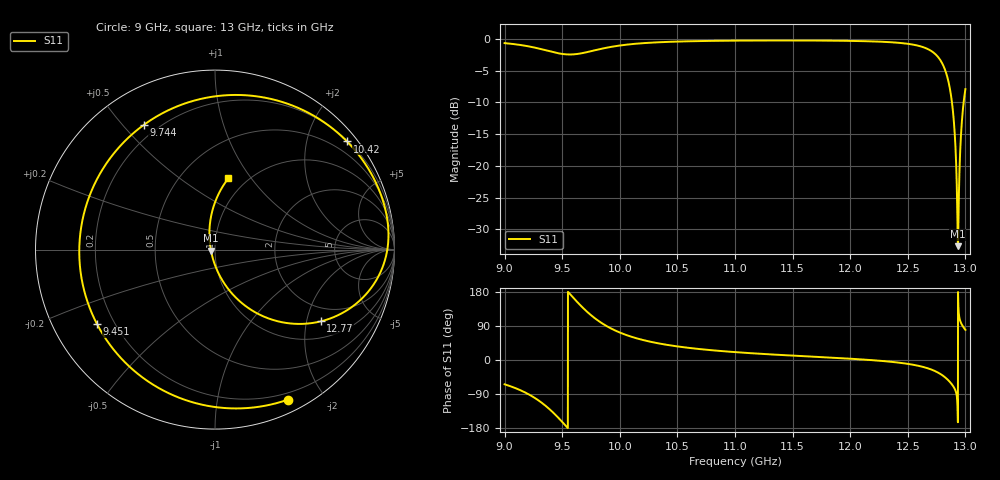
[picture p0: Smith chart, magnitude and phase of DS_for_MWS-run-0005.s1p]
! TOUCHSTONE file generated by CST DESIGN STUDIO
! Date and time: Wed Feb  5 13:27:48 2025
! Project name: C:\Work\MatlabApps\UnitCellOptimizationMatlab\CST\unitcell.cst
! Tree item: Tasks\Sweep1\SPara1\S-Parameters
! Header version: 2024
! Port assignment regex: !\s*Touchstone port\s*([0-9]+)\s*=\s*(CST MWS port|CST DES external port|CST DES block port)\s*(.+)\s* \(\"(.*)\"\)(\s*mode\s*([0-9]+))?.*
! Touchstone port assignment:
! Touchstone port 1 = CST DES external port 1 ("")
# GHz S MA R 50
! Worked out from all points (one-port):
!   4001 points, 9 GHz to 13 GHz, reference 50 ohm
!   lowest |S11| = -32.7 dB at 12.94 GHz (marker M1), VSWR 1.05, Z = 47.8 - j0.606 ohm
!   |S11| at or under -10 dB: 12.88 GHz to 12.98 GHz (101.2 MHz wide, 0.782 % of centre)
!   S11 on the Smith chart (normalised r, x): 9 GHz: 0.13, -1.59; 9.451 GHz: 0.14, -0.29; 9.744 GHz: 0.15, +0.57; 10.42 GHz: 0.22, +2.78; 12.77 GHz: 1.50, -2.43; 13 GHz: 0.83, +0.78
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9  0.9292 -64.2
9.128  0.9008 -78.5
9.265  0.855 -100.7
9.36  0.8146 -122.0
9.451  0.7775 -147.6
9.5  0.7633 -163.3
9.61  0.7591 159.7
9.744  0.8 119.8
9.857  0.8446 94.7
10  0.8896 72.5
10.188  0.9264 53.8
10.423  0.9508 39.3
10.5  0.9558 35.8
11  0.9721 20.8
11.5  0.9751 11.6
12  0.9677 3.4
12.5  0.9178 -10.2
12.659  0.846 -20.5
12.768  0.712 -34.2
12.831  0.5463 -47.6
12.874  0.365 -61.0
12.899  0.2295 -71.6
12.922  0.08968 -89.2
12.935  0.02324 -164.2
12.948  0.0868 111.1
12.963  0.183 97.1
12.974  0.2521 90.9
13  0.4029 79.5
